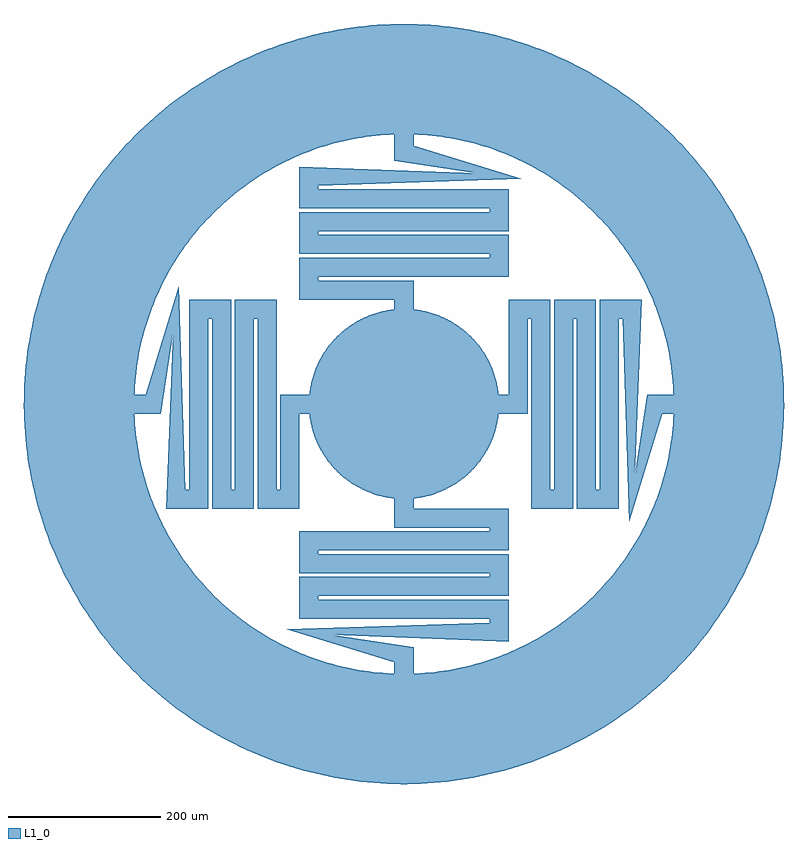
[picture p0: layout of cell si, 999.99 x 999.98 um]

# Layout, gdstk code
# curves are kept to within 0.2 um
import gdstk
lib = gdstk.Library(unit=1e-6, precision=1e-09)
def P(c, l, *ps):  # polygons
    for p in ps: c.add(gdstk.Polygon(p, *l))
L1_0 = (1, 0)

c_si = lib.new_cell('si')
P(c_si, L1_0, [(-1.094,-124.995),(-14.19,-124.192),(-24.989,-122.477),(-37.69,-119.183),(-47.962,-115.433),(-57.867,-110.799),(-69.162,-104.123),(-79.695,-96.3),(-89.35,-87.416),(-98.021,-77.569),(-104.425,-68.706),(-111.051,-57.381),(-116.454,-45.425),(-119.979,-35.073),(-122.994,-22.304),(-124.473,-11.469),(-124.989,1.641),(-124.368,12.558),(-122.366,25.525),(-119.017,38.211),(-115.222,48.466),(-109.507,60.277),(-103.82,69.617),(-95.951,80.115),(-87.024,89.732),(-77.14,98.359),(-68.248,104.724),(-56.895,111.301),(-46.95,115.848),(-36.645,119.508),(-23.917,122.691),(-10.925,124.522),(2.188,124.981),(15.276,124.063),(26.06,122.253),(36.645,119.508),(48.97,115.008),(60.755,109.242),(70.07,103.514),(80.535,95.599),(88.582,88.195),(97.338,78.424),(103.82,69.617),(109.507,60.277),(115.222,48.466),(119.667,36.122),(122.794,23.38),(124.368,12.558),(124.999,-0.547),(124.473,-11.469),(122.585,-24.453),(119.346,-37.168),(114.793,-49.473),(108.975,-61.233),(103.206,-70.523),(96.648,-79.273),(87.806,-88.967),(79.695,-96.3),(69.162,-104.123),(57.867,-110.799),(47.962,-115.433),(37.69,-119.183),(24.989,-122.477),(12.014,-124.421)],
  [(-4.375,-499.981),(-30.609,-499.062),(-56.759,-496.768),(-82.752,-493.105),(-99.958,-489.907),(-125.531,-483.985),(-150.759,-476.73),(-175.57,-468.161),(-199.898,-458.302),(-215.815,-451.025),(-239.188,-439.078),(-261.902,-425.92),(-283.894,-411.588),(-305.103,-396.121),(-325.472,-379.563),(-344.944,-361.959),(-357.4,-349.665),(-375.258,-330.426),(-392.082,-310.277),(-407.826,-289.272),(-417.699,-274.822),(-431.547,-252.522),(-440.12,-237.265),(-451.965,-213.839),(-462.565,-189.825),(-471.89,-165.287),(-479.914,-140.294),(-486.616,-114.914),(-491.976,-89.217),(-494.797,-71.945),(-497.891,-45.878),(-499.612,-19.685),(-499.957,6.563),(-498.923,32.793),(-496.515,58.932),(-492.738,84.908),(-489.464,102.1),(-483.432,127.648),(-478.668,144.488),(-470.426,169.41),(-460.886,193.865),(-450.077,217.786),(-438.027,241.107),(-429.321,256.289),(-415.278,278.467),(-400.092,299.878),(-383.802,320.462),(-366.455,340.163),(-352.076,355),(0,355),(-18.631,354.511),(-31.026,353.642),(-43.384,352.339),(-61.815,349.577),(-74.011,347.199),(-86.117,344.396),(-98.117,341.172),(-109.996,337.529),(-127.559,331.291),(-139.075,326.624),(-150.42,321.557),(-167.089,313.219),(-177.948,307.18),(-188.589,300.764),(-204.114,290.452),(-219.076,279.34),(-228.718,271.502),(-238.08,263.331),(-247.149,254.838),(-255.916,246.032),(-268.476,232.262),(-276.44,222.724),(-284.065,212.913),(-294.848,197.711),(-304.818,181.965),(-310.999,171.186),(-316.799,160.197),(-324.77,143.35),(-329.588,131.896),(-334.002,120.281),(-338.007,108.519),(-341.598,96.623),(-346.198,78.562),(-349.844,60.285),(-351.739,48.005),(-353.204,35.665),(-354.236,23.283),(-354.834,10.871),(-354.915,-7.766),(-354.018,-26.382),(-352.878,-38.755),(-351.306,-51.081),(-348.141,-69.447),(-345.497,-81.589),(-342.43,-93.63),(-338.944,-105.557),(-335.042,-117.354),(-328.421,-134.776),(-323.503,-146.187),(-318.189,-157.419),(-309.489,-173.901),(-303.214,-184.625),(-296.567,-195.124),(-285.917,-210.419),(-274.48,-225.135),(-266.433,-234.603),(-258.06,-243.783),(-244.91,-256.991),(-235.766,-265.404),(-226.333,-273.493),(-216.623,-281.246),(-206.648,-288.655),(-191.214,-299.102),(-180.629,-305.611),(-169.823,-311.745),(-153.229,-320.228),(-141.928,-325.394),(-130.453,-330.162),(-112.946,-336.553),(-101.098,-340.3),(-89.127,-343.63),(-70.97,-347.834),(-52.617,-351.079),(-40.299,-352.705),(-27.93,-353.9),(-9.319,-354.878),(3.107,-354.986),(15.528,-354.66),(34.12,-353.357),(46.465,-351.946),(58.754,-350.104),(70.97,-347.834),(83.1,-345.137),(101.098,-340.3),(112.946,-336.553),(124.655,-332.395),(141.928,-325.394),(153.229,-320.228),(164.342,-314.669),(180.629,-305.611),(191.214,-299.102),(201.565,-292.227),(216.623,-281.246),(231.085,-269.49),(240.375,-261.237),(249.37,-252.665),(262.287,-239.229),(274.48,-225.135),(285.917,-210.419),(296.567,-195.124),(303.214,-184.625),(312.485,-168.458),(320.895,-151.826),(328.421,-134.776),(332.937,-123.199),(338.944,-105.557),(344.016,-87.623),(348.141,-69.447),(351.306,-51.081),(352.878,-38.755),(354.426,-20.182),(354.997,-1.553),(354.589,17.08),(353.204,35.665),(350.845,54.153),(348.735,66.398),(346.198,78.562),(341.598,96.623),(336.056,114.417),(329.588,131.896),(322.212,149.012),(313.947,165.717),(304.818,181.965),(298.263,192.521),(287.748,207.909),(276.44,222.724),(264.37,236.925),(251.571,250.473),(242.652,259.124),(233.435,267.457),(223.931,275.463),(214.154,283.131),(199,293.98),(188.589,300.764),(177.948,307.18),(167.089,313.219),(156.025,318.875),(144.77,324.14),(127.559,331.291),(115.887,335.552),(104.072,339.402),(92.131,342.837),(80.076,345.851),(61.815,349.577),(49.543,351.526),(31.026,353.642),(18.631,354.511),(6.213,354.946),(-352.076,355),(-335.323,370.888),(-315.396,387.976),(-294.6,403.994),(-272.992,418.898),(-250.631,432.648),(-235.337,441.154),(-211.86,452.897),(-187.799,463.391),(-163.221,472.609),(-146.581,478.031),(-121.291,485.065),(-95.667,490.763),(-69.779,495.107),(-43.699,498.087),(-17.498,499.694),(0,500),(17.498,499.694),(43.699,498.087),(69.779,495.107),(95.667,490.763),(121.291,485.065),(146.581,478.031),(171.467,469.68),(195.88,460.034),(211.86,452.897),(235.337,441.154),(258.165,428.195),(280.281,414.056),(294.6,403.994),(315.396,387.976),(335.323,370.888),(354.326,352.779),(372.352,333.697),(389.352,313.696),(405.279,292.83),(415.278,278.467),(429.321,256.289),(442.179,233.404),(453.819,209.876),(464.209,185.77),(473.318,161.151),(481.124,136.089),(487.603,110.651),(491.176,93.519),(495.408,67.612),(498.273,41.519),(499.421,24.056),(499.995,-2.188),(499.191,-28.425),(497.012,-54.584),(494.797,-71.945),(490.339,-97.813),(486.616,-114.914),(479.914,-140.294),(471.89,-165.287),(462.565,-189.825),(451.965,-213.839),(440.12,-237.265),(427.061,-260.036),(412.826,-282.09),(402.701,-296.365),(386.592,-317.091),(369.418,-336.943),(351.225,-355.866),(332.065,-373.809),(311.989,-390.721),(291.054,-406.556),(269.316,-421.271),(254.408,-430.438),(231.467,-443.196),(207.888,-454.733),(183.737,-465.017),(159.079,-474.019),(142.392,-479.296),(117.042,-486.108),(91.369,-491.581),(65.444,-495.699),(39.339,-498.45),(13.125,-499.828)])
c_si.add(gdstk.FlexPath([(0,0),(0,150),(-125,150),(-125,180),(125,180),(125,210),(-125,210),(-125,240),(125,240),(125,270),(-125,270),(-125,300),(125,300),(125,300),(0,330),(0,355)], 25, ends="flush", simple_path=True, layer=1, datatype=0))  # L1_0
c_si.add(gdstk.FlexPath([(0,0),(-150,0),(-150,-125),(-180,-125),(-180,125),(-210,125),(-210,-125),(-240,-125),(-240,125),(-270,125),(-270,-125),(-300,-125),(-300,125),(-300,125),(-330,0),(-355,0)], 25, ends="flush", simple_path=True, layer=1, datatype=0))  # L1_0
c_si.add(gdstk.FlexPath([(0,0),(0,-150),(125,-150),(125,-180),(-125,-180),(-125,-210),(125,-210),(125,-240),(-125,-240),(-125,-270),(125,-270),(125,-300),(-125,-300),(-125,-300),(0,-330),(0,-355)], 25, ends="flush", simple_path=True, layer=1, datatype=0))  # L1_0
c_si.add(gdstk.FlexPath([(0,0),(150,0),(150,125),(180,125),(180,-125),(210,-125),(210,125),(240,125),(240,-125),(270,-125),(270,125),(300,125),(300,-125),(300,-125),(330,0),(355,0)], 25, ends="flush", simple_path=True, layer=1, datatype=0))  # L1_0

lib.write_gds('si.gds')
